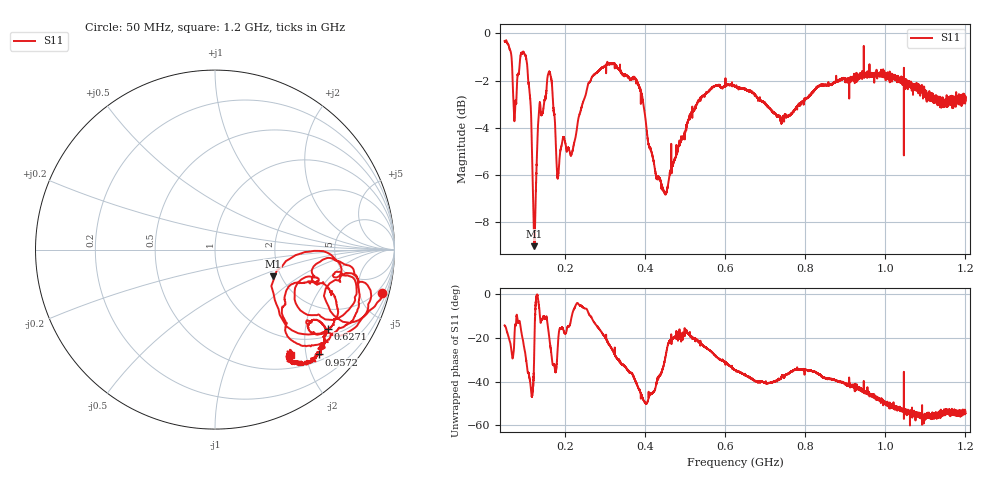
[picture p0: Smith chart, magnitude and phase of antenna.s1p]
! Calibrated high-resolution NanoVNA antenna measurement
# Hz S RI R 50
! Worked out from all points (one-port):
!   40001 points, 50 MHz to 1.2 GHz, reference 50 ohm
!   lowest |S11| = -9.0 dB at 124.1 MHz (marker M1), VSWR 2.10, Z = 90.6 - j30.9 ohm
!   |S11| at or under -10 dB: nowhere
!   S11 on the Smith chart (normalised r, x): 50 MHz: 1.17, -7.76; 627.1 MHz: 1.23, -2.67; 957.2 MHz: 0.62, -2.26; 1.2 GHz: 0.62, -1.73
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5e7  0.9331 -0.239
6.618625e7  0.8227 -0.3772
7.392e7  0.6069 -0.2579
8.349375e7  0.7982 -0.18
9.646e7  0.8484 -0.3413
1.113238e8  0.6094 -0.4715
1.174475e8  0.422 -0.4452
1.240888e8  0.3216 -0.1493
1.314488e8  0.5759 -0.00628
1.583012e8  0.789 -0.2161
1.72015e8  0.5876 -0.3684
1.8133e8  0.4424 -0.2383
1.9375e8  0.568 -0.1552
2.364438e8  0.6693 -0.0595
2.873312e8  0.8038 -0.2348
3.375e8  0.7164 -0.4296
3.897675e8  0.5314 -0.5351
4.088288e8  0.3917 -0.4317
4.497975e8  0.3963 -0.232
4.8125e8  0.5377 -0.1786
5.381175e8  0.6723 -0.2782
6.25e8  0.6348 -0.4403
6.2707e8  0.6312 -0.441
7.6875e8  0.5563 -0.3908
9.125e8  0.588 -0.5276
9.571775e8  0.5799 -0.5842
1.05625e9  0.4631 -0.632
1.2e9  0.4226 -0.6174
